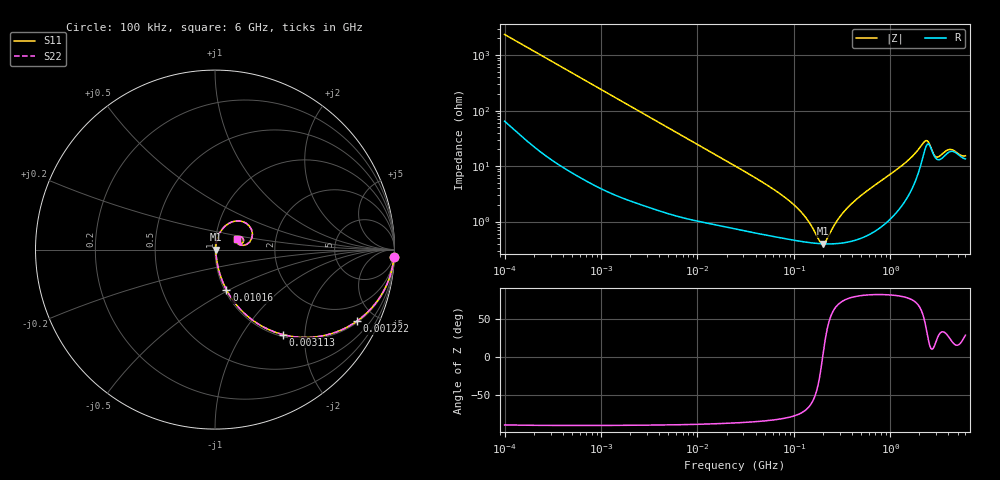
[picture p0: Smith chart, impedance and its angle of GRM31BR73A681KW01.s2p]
!Murata Part Number: GRM31BR73A681KW01
!These Parameters are Measured in Series Mode Connection
!Data Generated on Mar 30, 2021
!  o--ll--o
!Port1  Port2
!  o------o
!Operation Temp=25[degC], DC Bias Voltage=0[V]
!Freq. Start=100[kHz] Stop=6[GHz] 401[Steps]
# Hz S RI R 50
!Freq.(Hz) S11(Real) S11(Imag) S21(Real) S21(Imag) S12(Real) S12(Imag) S22(Real) S22(Imag)
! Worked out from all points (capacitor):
!   401 points, 100 kHz to 6 GHz, reference 50 ohm
!   read as one part in series: C = 673 pF near 105.7 kHz
!   lowest |Z| = 398 mohm at 198.1 MHz (marker M1)
!   series resonance near 198.6 MHz, so ESL is about 950 pH
!   S11 on the Smith chart (normalised r, x): 100 kHz: 2, -47; 1.222 MHz: 1.07, -3.94; 3.113 MHz: 1.04, -1.56; 10.16 MHz: 1.02, -0.48; 6 GHz: 1.27, +0.15
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100000  0.9971 -0.0423  0.00295 0.0423  0.00295 0.0423  0.9971 -0.0423
276681  0.9848 -0.1143  0.0152 0.1143  0.0152 0.1143  0.9848 -0.1143
631452  0.9316 -0.2447  0.0684 0.2447  0.0684 0.2447  0.9316 -0.2447
1221882  0.7909 -0.3983  0.2091 0.3983  0.2091 0.3983  0.7909 -0.3983
2004685  0.5902 -0.4821  0.4098 0.4821  0.4098 0.4821  0.5902 -0.4821
3112951  0.3803 -0.474  0.6197 0.474  0.6197 0.474  0.3803 -0.474
3987316  0.276 -0.4344  0.724 0.4344  0.724 0.4344  0.276 -0.4344
1.015836e7  0.0635 -0.2237  0.9365 0.2237  0.9365 0.2237  0.0635 -0.2237
2.517799e7  0.0166 -0.0955  0.9834 0.0955  0.9834 0.0955  0.0166 -0.0955
8.680865e7  0.00538 -0.024  0.9946 0.024  0.9946 0.024  0.00538 -0.024
1.207557e8  0.00454 -0.0137  0.9955 0.0137  0.9955 0.0137  0.00454 -0.0137
1.546735e8  0.00415 -0.00672  0.9959 0.00672  0.9959 0.00672  0.00415 -0.00672
1.981182e8  0.00396 -6.38e-05  0.996 6.38e-05  0.996 6.38e-05  0.00396 -6.38e-05
2.911787e8  0.00413 0.0106  0.9959 -0.0106  0.9959 -0.0106  0.00413 0.0106
3.72965e8  0.00463 0.0183  0.9954 -0.0183  0.9954 -0.0183  0.00463 0.0183
9.76689e8  0.0151 0.0669  0.9849 -0.0669  0.9849 -0.0669  0.0151 0.0669
1.693027e9  0.0571 0.1315  0.9429 -0.1315  0.9429 -0.1315  0.0571 0.1315
2.2912e9  0.1896 0.1335  0.8104 -0.1335  0.8104 -0.1335  0.1896 0.1335
2.628996e9  0.1766 0.0292  0.8234 -0.0292  0.8234 -0.0292  0.1766 0.0292
3.016594e9  0.1202 0.0427  0.8798 -0.0427  0.8798 -0.0427  0.1202 0.0427
4.082404e9  0.1567 0.0608  0.8433 -0.0608  0.8433 -0.0608  0.1567 0.0608
6e9  0.1224 0.0569  0.8776 -0.0569  0.8776 -0.0569  0.1224 0.0569
